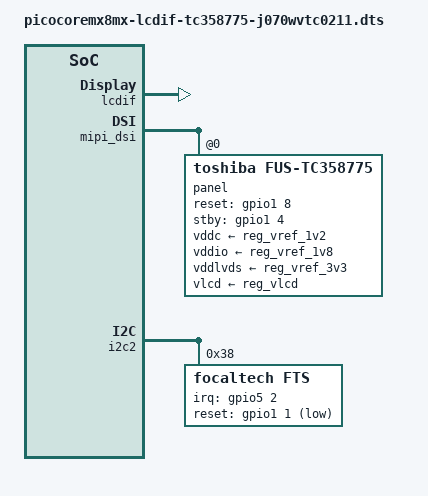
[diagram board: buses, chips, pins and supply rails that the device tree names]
/*
 * Copyright (C) 2020 F&S Elektronik Systeme GmbH
 *
 * This program is free software; you can redistribute it and/or modify
 * it under the terms of the GNU General Public License version 2 as
 * published by the Free Software Foundation.
 */

#define CONFIG_PICOCOREMX8MX_MIPI_DSI_LVDS
#define CONFIG_PICOCOREMX8MX_INVERTED_XY
#include "picocoremx8mx.dts"

&lcdif {
	status = "okay";
	/* important to overwrite max-res otherwise DRM lcdif will fail to find a suitable connector */
	max-res = <4096>, <4096>;
};

&mipi_dsi {
	status = "okay";

	panel@0{
		status = "okay";
		compatible = "toshiba,fus-tc358775";
		reg = <0>;
		pinctrl-names = "default";
		pinctrl-0 = <&pinctrl_mipi_dsi_en>;

		clocks = <&clk IMX8MM_CLK_CLKO2>;
		reset-gpios = <&gpio1 8 GPIO_ACTIVE_HIGH>;
		stby-gpios  = <&gpio1 4 GPIO_ACTIVE_HIGH>;

		vddc-supply = <&reg_vref_1v2>;
		vddio-supply = <&reg_vref_1v8>;
		vddlvds-supply = <&reg_vref_3v3>;
		vlcd-supply = <&reg_vlcd>;

		dsi,format = <0x0>; /* MIPI_DSI_FMT_RGB888 */
		dsi,lanes = <4>;
		dsi,flags = <0xB>; /* MIPI_DSI_MODE_VIDEO MIPI_DSI_MODE_VIDEO_BURST MIPI_DSI_MODE_VIDEO_AUTO_VERT */
		refresh-rate = <60>;
                rotate = <0>;

		panel-width-mm = <154>;
		panel-height-mm = <85>;

		reg,address = <
				/* dsi basic parameters in lp mode */
				0x013c 0x0114 0x0164 0x0168
				0x016C 0x0170 0x0134 0x0210
				0x0104 0x0204
				/* Timing and mode settings */
				0x0450 0x0454 0x0458 0x045C
				0x0460 0x0464 0x04A0 0x04A0 0x0504
				/* color mapping settings	*/
				0x0480 0x0484 0x0488 0x048C 0x0490
				0x0494 0x0498
				 /* LVDS enable */
                0x049C>;
		reg,value = <
				/* dsi basic parameters in lp mode */
				0x10002 0x1 0x0 0x0
				0x00000	0x0 0x1F 0x1F
				0x00001 0x1
				/* Timing and mode settings */
				0x03200120 0x1A0014 0xD20320 0x170001
				0x1501E0 0x1 0x44802D 0x4802D 0x4
				/* color mapping settings	*/
				0x3020100 0x8050704 0xF0E0A09 0x100D0C0B 0x12111716
				0x1B151413 0x61A1918
				0x00000031>;

		display-timings {
			native-mode = <&timing0>;

			timing0: jd_j070wvtc0211 {
				clock-frequency = <33500000>;
				hactive = <800>;
				vactive = <480>;
				hback-porch = <20>;
				hfront-porch = <247>;
				hsync-len = <5>;
				vback-porch = <22>;
				vfront-porch = <23>;
				vsync-len = <1>;
				pixelclk-active = <0>;
			};
		};
	};
};

&i2c2 {
	/* touch I2C */
	focaltech@38 {
		compatible = "focaltech,fts";
		reg = <0x38>;
		interrupt-parent = <&gpio5>;
		interrupts = <2 IRQ_TYPE_EDGE_FALLING>;
		focaltech,irq-gpio = <&gpio5 2 IRQ_TYPE_EDGE_FALLING>;
#ifdef CONFIG_PICOCOREMX8MX_INVERTED_XY
		focaltech,touchscreen-inverted-x;
		focaltech,touchscreen-inverted-y;
#endif
		focaltech,reset-gpio = <&gpio1 1 GPIO_ACTIVE_LOW>;
		focaltech,num-max-touches = <10>;
		focaltech,display-coords = <0 0 800 480>;
	};
};

/{
	backlight_ldb {
		pwms = <&pwm2 0 250000 PWM_POLARITY_INVERTED>;
		brightness-levels = <135 143 151 159 167 175 183 191
				     199 207 215 223 231 239 247 255>;
		default-brightness-level = <14>;
	};
};

